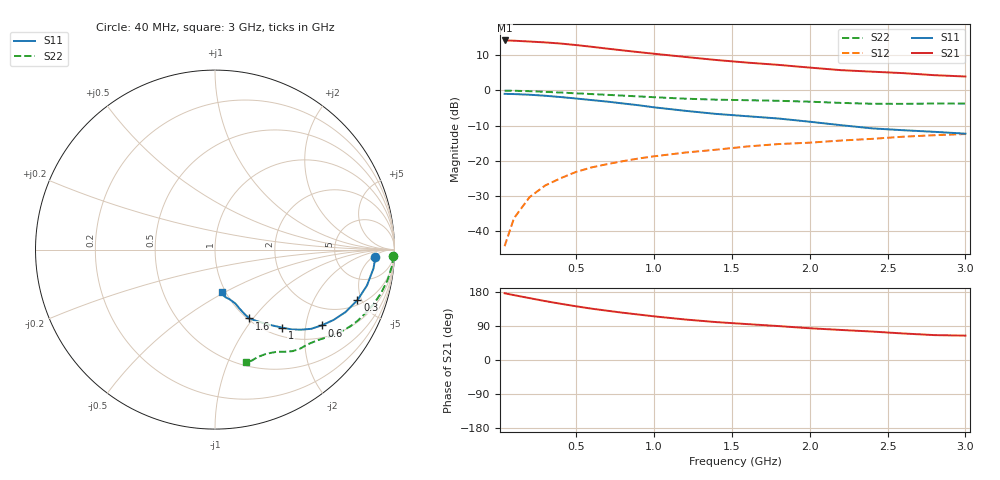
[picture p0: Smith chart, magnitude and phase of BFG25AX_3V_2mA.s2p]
! Filename:  BFG25AXJ.S2P  Version:  2.0
! Philips part #: BFG25A/X  Date: May 1990
! Bias condition: Vce=3.0V, Ic=2.0mA
#  MHz  S  MA  R  50
! Freq  S11  S21  S12  S22  !GUM [dB]
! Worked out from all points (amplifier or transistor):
!   21 points, 40 MHz to 3 GHz, reference 50 ohm
!   highest |S21| = 14.3 dB at 40 MHz (marker M1)
!   |S21| within 3 dB of that: start of sweep to 833.2 MHz
!   unconditionally stable (mu >= 1): nowhere
!   at 300 MHz: K = 0.20, MSG = 20.4 dB, |S12| = -27.1 dB
!   at 1 GHz: K = 0.55, MSG = 14.6 dB, |S12| = -18.8 dB
!   at 3 GHz: K = 0.92, MSG = 8.2 dB, |S12| = -12.4 dB
!   lowest NFmin = 2.30 dB at 500 MHz
!   S11 on the Smith chart (normalised r, x): 40 MHz: 15, -6; 300 MHz: 2.38, -4.61; 600 MHz: 1.37, -2.46; 1 GHz: 1.16, -1.50; 1.6 GHz: 1.02, -0.96; 3 GHz: 0.96, -0.49
40  0.895 -2.6  5.176 176.1  0.006 88.6  0.995 -2.0
100  0.889 -6.8  5.134 171.2  0.015 85.4  0.991 -5.0
200  0.87 -13.3  4.996 163.3  0.03 81.3  0.977 -9.9
300  0.842 -19.6  4.854 155.5  0.044 77.6  0.957 -14.6
400  0.806 -25.6  4.677 148.4  0.056 74.4  0.935 -18.9
500  0.768 -30.7  4.447 141.7  0.069 71.6  0.911 -22.8
600  0.729 -35.4  4.202 135.4  0.08 69.6  0.889 -26.4
700  0.694 -39.5  3.958 130.0  0.089 67.3  0.867 -29.5
800  0.653 -43.1  3.733 124.7  0.098 66.2  0.845 -32.2
900  0.616 -46.2  3.53 120.0  0.107 64.4  0.823 -34.6
1000  0.575 -49.2  3.344 115.2  0.115 62.7  0.802 -37.0
1200  0.513 -54.5  3.012 106.9  0.13 59.7  0.764 -41.3
1400  0.463 -59.5  2.722 100.0  0.143 58.6  0.739 -45.5
1600  0.429 -63.4  2.498 94.7  0.159 57.0  0.727 -49.6
1800  0.398 -65.2  2.319 89.5  0.172 55.4  0.712 -52.6
2000  0.358 -67.3  2.122 83.8  0.18 53.7  0.692 -55.3
2200  0.32 -69.4  1.951 79.3  0.193 52.2  0.665 -58.9
2400  0.288 -73.7  1.856 75.1  0.204 50.2  0.647 -63.7
2600  0.271 -77.7  1.769 70.0  0.219 47.9  0.644 -68.5
2800  0.257 -80.0  1.654 65.7  0.23 46.8  0.652 -71.8
3000  0.242 -80.5  1.583 64.3  0.239 46.2  0.649 -74.4
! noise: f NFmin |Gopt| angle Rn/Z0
500  2.3  0.79  5  2.3
1000  2.3  0.74  14  2.5
2000  2.8  0.7  37  1.8
